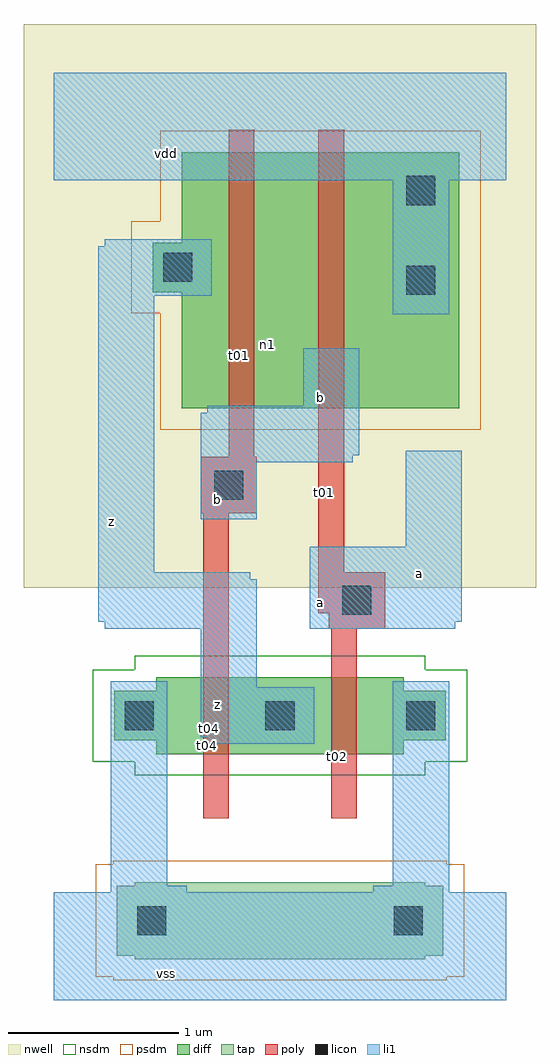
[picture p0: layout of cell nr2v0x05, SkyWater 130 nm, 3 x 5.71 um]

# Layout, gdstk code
import gdstk
lib = gdstk.Library(unit=1e-6, precision=5e-09)
def R(c, l, rs):  # rectangles x0, y0, x1, y1
    for r in rs: c.add(gdstk.rectangle(r[:2], r[2:], *l))
def A(c, l, x, y, w, h, nx, ny, dx, dy):  # array of equal rectangles
    R(c, l, [(x+i*dx, y+j*dy, x+i*dx+w, y+j*dy+h) for i in range(nx) for j in range(ny)])
nwell = (64, 20)
diff = (65, 20)
tap = (65, 44)
poly = (66, 20)
licon = (66, 44)
li1 = (67, 20)
nsdm = (93, 44)
psdm = (94, 20)

nr2v0x05 = lib.new_cell('nr2v0x05')
R(nr2v0x05, nwell, [(-0.3,2.4,2.7,5.7)])
R(nr2v0x05, diff, [(0.475,1.425,1.925,1.875), (0.23,1.505,2.17,1.795), (0.625,3.45,2.25,4.95), (0.455,4.13,2.25,4.42)])
R(nr2v0x05, tap, [(0.35,0.225,2.05,0.675), (0.245,0.245,2.155,0.655)])
R(nr2v0x05, poly, [(0.75,1.05,0.9,3.165), (1.5,1.05,1.65,2.49), (1.485,2.16,1.815,2.49), (1.425,2.25,1.65,2.49), (1.425,2.25,1.815,2.49), (1.425,2.25,1.815,2.49), (1.425,2.25,1.575,5.08), (0.735,2.835,1.065,3.165), (0.9,2.835,1.05,5.08)])
A(nr2v0x05, licon, 0.29, 1.565, 0.17, 0.17, 3, 1, 0.825, 0)
R(nr2v0x05, licon, [(0.365,0.365,0.535,0.535), (1.865,0.365,2.035,0.535), (1.565,2.24,1.735,2.41), (0.815,2.915,0.985,3.085), (1.94,4.115,2.11,4.285), (0.515,4.19,0.685,4.36), (1.94,4.64,2.11,4.81)])
R(nr2v0x05, li1, [(-0.125,-0.015,2.525,0.615), (-0.125,-0.015,2.525,0.615), (0.21,-0.015,0.655,0.655), (0.21,-0.015,0.54,1.85), (1.745,-0.015,2.19,0.655), (1.86,-0.015,2.19,1.85), (0.775,1.485,1.065,2.45), (0.775,1.485,1.025,2.49), (0.775,1.485,1.4,1.815), (0.735,1.525,1.025,2.49), (0.735,1.525,1.065,2.45), (0.735,1.525,1.4,1.815), (0.775,1.635,1.025,1.965), (0.175,2.16,1.065,2.45), (0.175,2.16,1.025,2.49), (0.175,2.16,0.465,4.44), (1.375,2.16,2.225,2.64), (1.935,2.16,2.225,3.2), (0.135,2.2,1.065,2.45), (0.135,2.2,1.025,2.49), (0.135,2.2,0.465,4.4), (0.175,2.2,0.465,4.44), (1.375,2.2,2.265,2.64), (1.935,2.2,2.265,3.2), (1.375,2.235,1.625,2.565), (0.135,2.275,0.465,4.325), (1.935,2.275,2.265,3.125), (0.735,2.8,1.065,3.425), (0.775,2.8,1.065,3.465), (0.775,2.835,1.025,3.165), (0.735,3.135,1.625,3.425), (0.775,3.135,1.625,3.465), (1.335,3.135,1.625,3.8), (0.735,3.175,1.665,3.425), (0.775,3.175,1.665,3.465), (1.335,3.175,1.665,3.8), (1.375,3.435,1.625,3.765), (1.86,4,2.19,5.415), (0.135,4.11,0.8,4.4), (0.135,4.11,0.8,4.4), (0.175,4.11,0.8,4.44), (-0.125,4.785,2.525,5.415), (-0.125,4.785,2.525,5.415)])
A(nr2v0x05, nsdm, 0.23, 1.505, 0.29, 0.29, 3, 1, 0.825, 0)
R(nr2v0x05, nsdm, [(0.35,1.3,2.05,2), (0.105,1.38,2.295,1.92), (1.05,1.425,1.35,1.875), (1.05,1.425,1.35,1.875)])
R(nr2v0x05, psdm, [(0.225,0.1,2.175,0.8), (0.12,0.12,2.28,0.78), (0.5,3.325,2.375,5.075), (1.05,3.45,1.35,4.95), (1.05,3.45,1.35,4.95), (1.8,3.45,2.25,4.95), (1.8,3.45,2.25,4.95), (0.33,4.005,2.375,4.545), (1.88,4.055,2.17,4.345), (0.455,4.13,0.745,4.42), (1.88,4.58,2.17,4.87)])
nr2v0x05.add(gdstk.Label('t04', (0.775,1.475), layer=93, texttype=44))
nr2v0x05.add(gdstk.Label('t01', (0.965,3.76), layer=94, texttype=20))
nr2v0x05.add(gdstk.Label('t02', (0.835,1.535), layer=65, texttype=20))
nr2v0x05.add(gdstk.Label('t01', (1.03,3.825), layer=65, texttype=20))
nr2v0x05.add(gdstk.Label('n1', (1.125,3.825), layer=94, texttype=20))
nr2v0x05.add(gdstk.Label('t04', (0.785,1.575), layer=66, texttype=20))
nr2v0x05.add(gdstk.Label('t02', (1.535,1.41), layer=66, texttype=20))
nr2v0x05.add(gdstk.Label('t01', (1.46,2.955), layer=66, texttype=20))
nr2v0x05.add(gdstk.Label('z', (0.835,1.715), layer=67, texttype=20))
nr2v0x05.add(gdstk.Label('b', (0.835,2.915), layer=67, texttype=20))
nr2v0x05.add(gdstk.Label('z', (0.215,2.785), layer=67, texttype=20))
nr2v0x05.add(gdstk.Label('a', (1.435,2.315), layer=67, texttype=20))
nr2v0x05.add(gdstk.Label('b', (1.435,3.515), layer=67, texttype=20))
nr2v0x05.add(gdstk.Label('vss', (0.535,0.14), layer=67, texttype=20))
nr2v0x05.add(gdstk.Label('a', (2.015,2.485), layer=67, texttype=20))
nr2v0x05.add(gdstk.Label('vdd', (0.535,4.94), layer=67, texttype=20))

lib.write_gds('nr2v0x05.gds')
